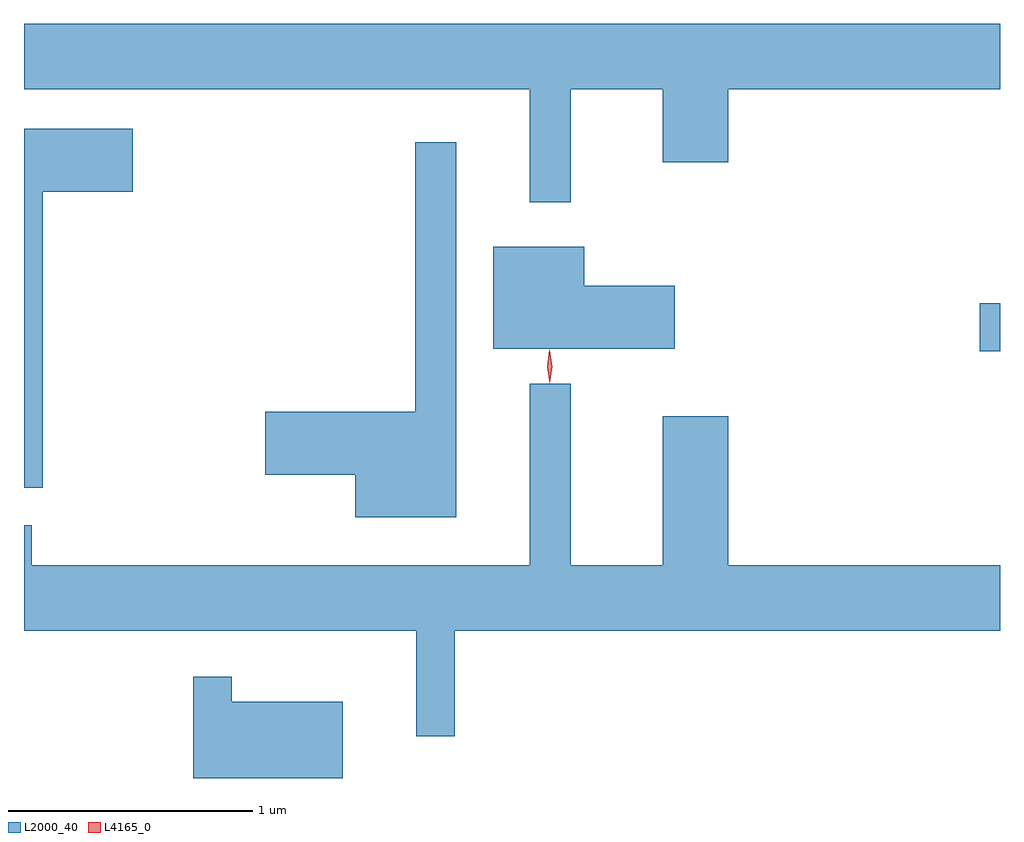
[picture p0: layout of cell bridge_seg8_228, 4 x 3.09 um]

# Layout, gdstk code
import gdstk
lib = gdstk.Library(unit=1e-6, precision=1e-09)
def R(c, l, rs):  # rectangles x0, y0, x1, y1
    for r in rs: c.add(gdstk.rectangle(r[:2], r[2:], *l))
def P(c, l, *ps):  # polygons
    for p in ps: c.add(gdstk.Polygon(p, *l))
L2000_40 = (2000, 40)
L4165_0 = (4165, 0)

bridge_seg8_228 = lib.new_cell('bridge_seg8_228')
R(bridge_seg8_228, L2000_40, [(1155.436,1875.301,1155.518,1875.499)])
P(bridge_seg8_228, L2000_40, [(1153.759,1876.376),(1154.136,1876.376),(1154.136,1876.076),(1154.404,1876.076),(1154.404,1876.376),(1155.518,1876.376),(1155.518,1876.644),(1151.518,1876.644),(1151.518,1876.376),(1153.591,1876.376),(1153.591,1875.913),(1153.759,1875.913)],
  [(1151.594,1875.956),(1151.964,1875.956),(1151.964,1876.214),(1151.518,1876.214),(1151.518,1874.741),(1151.594,1874.741)],
  [(1153.289,1876.158),(1153.121,1876.158),(1153.121,1875.054),(1152.506,1875.054),(1152.506,1874.796),(1152.876,1874.796),(1152.876,1874.621),(1153.289,1874.621)],
  [(1154.184,1875.569),(1153.814,1875.569),(1153.814,1875.729),(1153.441,1875.729),(1153.441,1875.311),(1154.184,1875.311)],
  [(1151.549,1874.589),(1151.518,1874.589),(1151.518,1874.156),(1153.126,1874.156),(1153.126,1873.723),(1153.284,1873.723),(1153.284,1874.156),(1155.518,1874.156),(1155.518,1874.424),(1154.404,1874.424),(1154.404,1875.034),(1154.136,1875.034),(1154.136,1874.424),(1153.759,1874.424),(1153.759,1875.168),(1153.591,1875.168),(1153.591,1874.424),(1151.549,1874.424)],
  [(1152.824,1873.864),(1152.369,1873.864),(1152.369,1873.968),(1152.211,1873.968),(1152.211,1873.551),(1152.824,1873.551)])
P(bridge_seg8_228, L4165_0, [(1153.672,1875.173),(1153.672,1875.174),(1153.662,1875.236),(1153.671,1875.299),(1153.672,1875.3),(1153.672,1875.299),(1153.682,1875.236),(1153.673,1875.174)],
  [(1153.672,1875.17),(1153.672,1875.17),(1153.662,1875.238),(1153.671,1875.305),(1153.671,1875.306),(1153.672,1875.305),(1153.682,1875.238),(1153.673,1875.17)])

lib.write_gds('bridge_seg8_228.gds')
